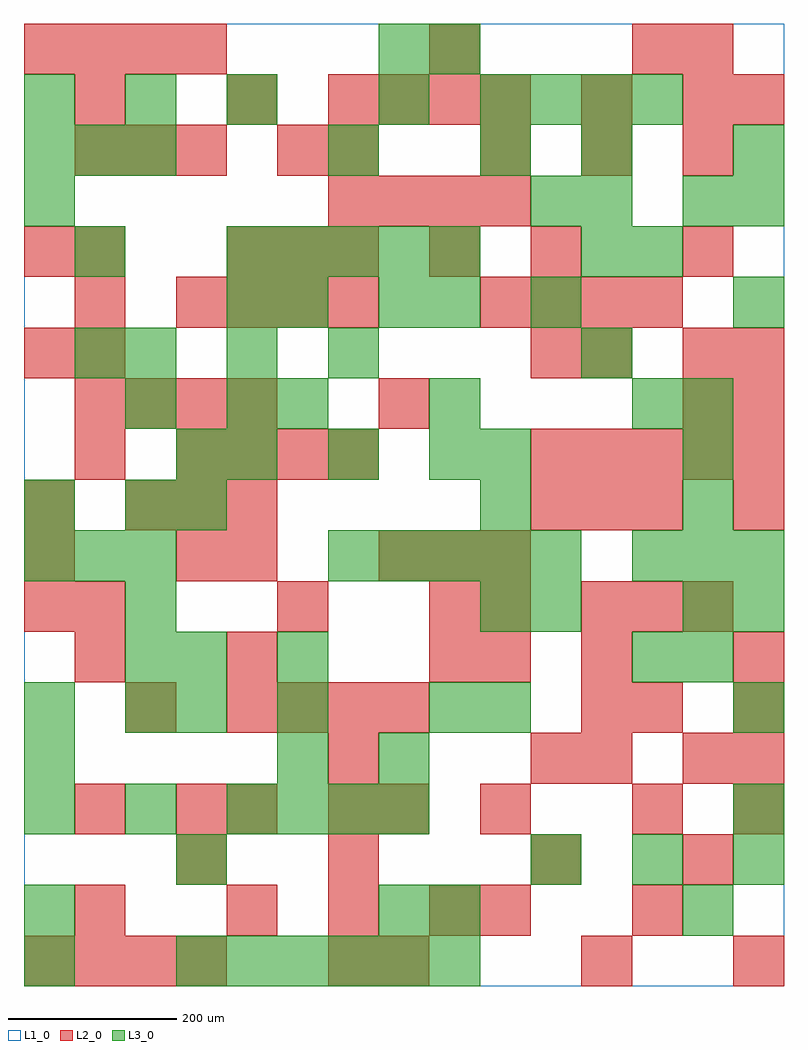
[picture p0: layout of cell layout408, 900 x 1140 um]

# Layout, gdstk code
import gdstk
lib = gdstk.Library(unit=1e-6, precision=1e-09)
def R(c, l, rs):  # rectangles x0, y0, x1, y1
    for r in rs: c.add(gdstk.rectangle(r[:2], r[2:], *l))
def A(c, l, x, y, w, h, nx, ny, dx, dy):  # array of equal rectangles
    R(c, l, [(x+i*dx, y+j*dy, x+i*dx+w, y+j*dy+h) for i in range(nx) for j in range(ny)])
L1_0 = (1, 0)
L2_0 = (2, 0)
L3_0 = (3, 0)

layout408 = lib.new_cell('layout408')
R(layout408, L1_0, [(0,0,900,1140)])
A(layout408, L2_0, 0, 0, 60, 60, 4, 2, 60, 1080)
A(layout408, L2_0, 240, 60, 60, 60, 3, 1, 120, 0)
A(layout408, L2_0, 720, 60, 60, 60, 1, 3, 0, 120)
A(layout408, L2_0, 360, 120, 60, 60, 1, 3, 0, 60)
A(layout408, L2_0, 840, 180, 60, 60, 1, 4, 0, 60)
A(layout408, L2_0, 660, 240, 60, 60, 1, 3, 0, 60)
A(layout408, L2_0, 240, 300, 60, 60, 4, 1, 60, 0)
A(layout408, L2_0, 0, 420, 60, 60, 1, 3, 0, 60)
A(layout408, L2_0, 660, 420, 60, 60, 3, 1, 60, 0)
A(layout408, L2_0, 420, 480, 60, 60, 3, 1, 60, 0)
A(layout408, L2_0, 120, 540, 60, 60, 3, 1, 60, 0)
A(layout408, L2_0, 600, 540, 60, 60, 3, 1, 60, 0)
A(layout408, L2_0, 180, 600, 60, 60, 4, 2, 60, 180)
A(layout408, L2_0, 600, 600, 60, 60, 5, 1, 60, 0)
A(layout408, L2_0, 60, 660, 60, 60, 4, 1, 60, 0)
A(layout408, L2_0, 60, 720, 60, 60, 1, 3, 0, 60)
A(layout408, L2_0, 540, 780, 60, 60, 4, 1, 60, 0)
A(layout408, L2_0, 240, 840, 60, 60, 3, 1, 60, 0)
A(layout408, L2_0, 360, 900, 60, 60, 4, 2, 60, 120)
A(layout408, L2_0, 60, 960, 60, 60, 3, 1, 60, 0)
A(layout408, L2_0, 540, 960, 60, 60, 3, 1, 120, 0)
R(layout408, L2_0, [(360,0,420,60), (420,0,480,60), (660,0,720,60), (840,0,900,60), (60,60,120,120), (540,60,600,120), (180,120,240,180), (600,120,660,180), (780,120,840,180), (60,180,120,240), (180,180,240,240), (240,180,300,240), (420,180,480,240), (540,180,600,240), (600,240,660,300), (780,240,840,300), (120,300,180,360), (60,360,120,420), (240,360,300,420), (480,360,540,420), (540,360,600,420), (60,420,120,480), (300,420,360,480), (480,420,540,480), (540,420,600,480), (180,480,240,540), (240,480,300,540), (840,540,900,600), (60,600,120,660), (420,660,480,720), (780,660,840,720), (840,660,900,720), (0,720,60,780), (600,720,660,780), (660,720,720,780), (780,720,840,780), (840,720,900,780), (0,840,60,900), (480,840,540,900), (600,840,660,900), (780,840,840,900), (300,960,360,1020), (360,960,420,1020), (60,1020,120,1080), (240,1020,300,1080), (660,1020,720,1080), (780,1020,840,1080), (840,1020,900,1080), (480,1080,540,1140), (720,1080,780,1140), (780,1080,840,1140)])
A(layout408, L3_0, 180, 0, 60, 60, 6, 1, 60, 0)
A(layout408, L3_0, 600, 120, 60, 60, 3, 1, 120, 0)
A(layout408, L3_0, 0, 180, 60, 60, 3, 2, 120, 840)
A(layout408, L3_0, 300, 180, 60, 60, 3, 1, 60, 0)
A(layout408, L3_0, 840, 180, 60, 60, 1, 3, 0, 120)
A(layout408, L3_0, 300, 240, 60, 60, 1, 3, 0, 60)
A(layout408, L3_0, 120, 300, 60, 60, 1, 3, 0, 60)
A(layout408, L3_0, 540, 300, 60, 60, 1, 3, 0, 120)
A(layout408, L3_0, 0, 480, 60, 60, 3, 2, 60, 480)
A(layout408, L3_0, 360, 480, 60, 60, 5, 1, 60, 0)
A(layout408, L3_0, 720, 480, 60, 60, 3, 1, 60, 0)
A(layout408, L3_0, 780, 540, 60, 60, 1, 3, 0, 60)
A(layout408, L3_0, 240, 600, 60, 60, 3, 1, 120, 0)
A(layout408, L3_0, 120, 720, 60, 60, 3, 1, 120, 0)
A(layout408, L3_0, 240, 840, 60, 60, 5, 1, 60, 0)
A(layout408, L3_0, 660, 840, 60, 60, 1, 3, 0, 60)
A(layout408, L3_0, 540, 1020, 60, 60, 4, 1, 60, 0)
R(layout408, L3_0, [(0,0,60,60), (0,60,60,120), (420,60,480,120), (480,60,540,120), (780,60,840,120), (180,120,240,180), (0,240,60,300), (420,240,480,300), (0,300,60,360), (180,300,240,360), (480,300,540,360), (180,360,240,420), (720,360,780,420), (780,360,840,420), (600,420,660,480), (780,420,840,480), (0,540,60,600), (120,540,180,600), (180,540,240,600), (180,600,240,660), (540,600,600,660), (120,660,180,720), (240,660,300,720), (300,660,360,720), (480,660,540,720), (720,660,780,720), (60,720,120,780), (660,720,720,780), (240,780,300,840), (300,780,360,840), (420,780,480,840), (480,780,540,840), (600,780,660,840), (840,780,900,840), (60,840,120,900), (720,840,780,900), (0,900,60,960), (600,900,660,960), (780,900,840,960), (840,900,900,960), (360,960,420,1020), (540,960,600,1020), (840,960,900,1020), (420,1020,480,1080), (420,1080,480,1140), (480,1080,540,1140)])

lib.write_gds('layout408.gds')
